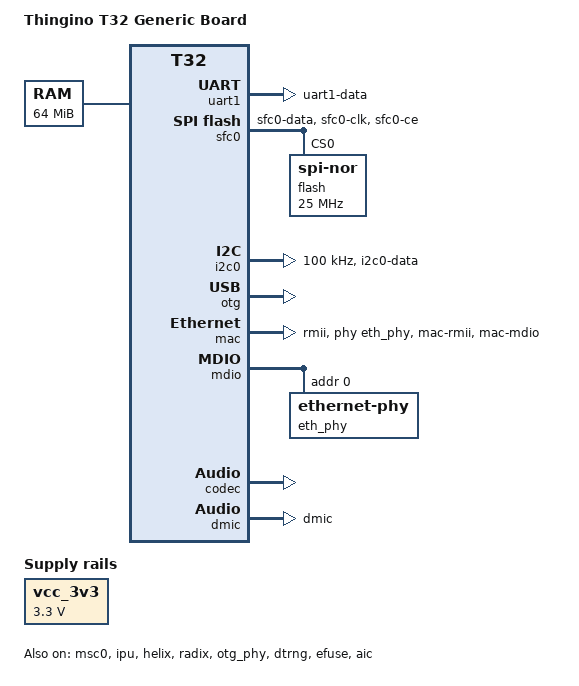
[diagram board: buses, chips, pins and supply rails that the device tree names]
// SPDX-License-Identifier: GPL-2.0
/dts-v1/;

#include "t32.dtsi"

/ {
	compatible = "thingino,t32", "ingenic,t32";
	model = "Thingino T32 Generic Board";

	aliases {
		serial1 = &uart1;
	};

	chosen {
		stdout-path = "serial1:115200n8";
	};

	/* the smallest RAM a T32 comes with; the boot loader's mem= has the real map */
	memory@0 {
		device_type = "memory";
		reg = <0x0 0x4000000>;
	};

	/* the 3.3 V rail of the USB PHY */
	vcc_3v3: regulator-3v3 {
		compatible = "regulator-fixed";
		regulator-name = "vcc-3v3";
		regulator-min-microvolt = <3300000>;
		regulator-max-microvolt = <3300000>;
		regulator-always-on;
	};

	/*
	 * The media memory of the out-of-tree camera stack, where thingino's
	 * U-Boot puts it on this RAM size; its rmem= places and enables it
	 */
	reserved-memory {
		#address-cells = <1>;
		#size-cells = <1>;
		ranges;

		rmem: rmem@2900000 {
			reg = <0x2900000 0x1700000>;
			no-map;
			status = "disabled";
		};
	};
};

&exclk {
	clock-frequency = <24000000>;
};

&uart1 {
	status = "okay";

	pinctrl-names = "default";
	pinctrl-0 = <&pins_uart1>;
};

&sfc0 {
	status = "okay";

	pinctrl-names = "default";
	pinctrl-0 = <&pins_sfc0>;

	/* partitions come from the mtdparts= the boot loader passes */
	flash@0 {
		compatible = "jedec,spi-nor";
		reg = <0>;
		spi-max-frequency = <25000000>;
	};
};

&msc0 {
	status = "okay";
	bus-width = <4>;
	max-frequency = <25000000>;
	/* no card detect pad on the T32LQ boards */
	broken-cd;
	no-1-8-v;

	pinctrl-names = "default";
	pinctrl-0 = <&pins_mmc0>;
};

&ipu {
	/* /dev/ipu (libimp OSD), bound by the out-of-tree ipu-t32 module */
	status = "okay";
};

&isp {
	/* consumed by the out-of-tree ISP modules, not bound by a driver */
	pinctrl-names = "default";
	pinctrl-0 = <&pins_cim_mclk>;

	memory-region = <&rmem>;
};

&helix {
	/* the H.264/JPEG encoder, bound by the out-of-tree soc-vpu module */
	status = "okay";
};

&radix {
	/* the H.265 encoder, bound by the same module */
	status = "okay";
};

&i2c0 {
	status = "okay";
	clock-frequency = <100000>;

	pinctrl-names = "default";
	pinctrl-0 = <&pins_i2c0>;
};

&otg_phy {
	status = "okay";

	vcc-supply = <&vcc_3v3>;
};

&otg {
	status = "okay";
	disable-over-current;
};

&dtrng {
	status = "okay";
};

&efuse {
	status = "okay";
};

&mac {
	status = "okay";

	phy-mode = "rmii";
	phy-handle = <&eth_phy>;

	pinctrl-names = "default";
	pinctrl-0 = <&pins_mac>;
};

&mdio {
	eth_phy: ethernet-phy@0 {
		reg = <0>;
	};
};

&pinctrl {
	pins_uart1: uart1 {
		function = "uart1";
		groups = "uart1-data";
	};

	pins_sfc0: sfc0 {
		function = "sfc0";
		groups = "sfc0-data", "sfc0-clk", "sfc0-ce";
	};

	pins_mmc0: mmc0 {
		function = "mmc0";
		groups = "mmc0-1bit", "mmc0-4bit";
	};

	pins_dmic: dmic {
		function = "dmic";
		groups = "dmic";
	};

	pins_cim_mclk: cim-mclk {
		function = "cim";
		groups = "cim-mclk0";
	};

	pins_i2c0: i2c0 {
		function = "i2c0";
		groups = "i2c0-data";
	};

	pins_mac: mac {
		function = "mac";
		groups = "mac-rmii", "mac-mdio";
	};
};

&aic {
	status = "okay";
};

&codec {
	status = "okay";
};

&dmic {
	status = "okay";

	pinctrl-names = "default";
	pinctrl-0 = <&pins_dmic>;
};
